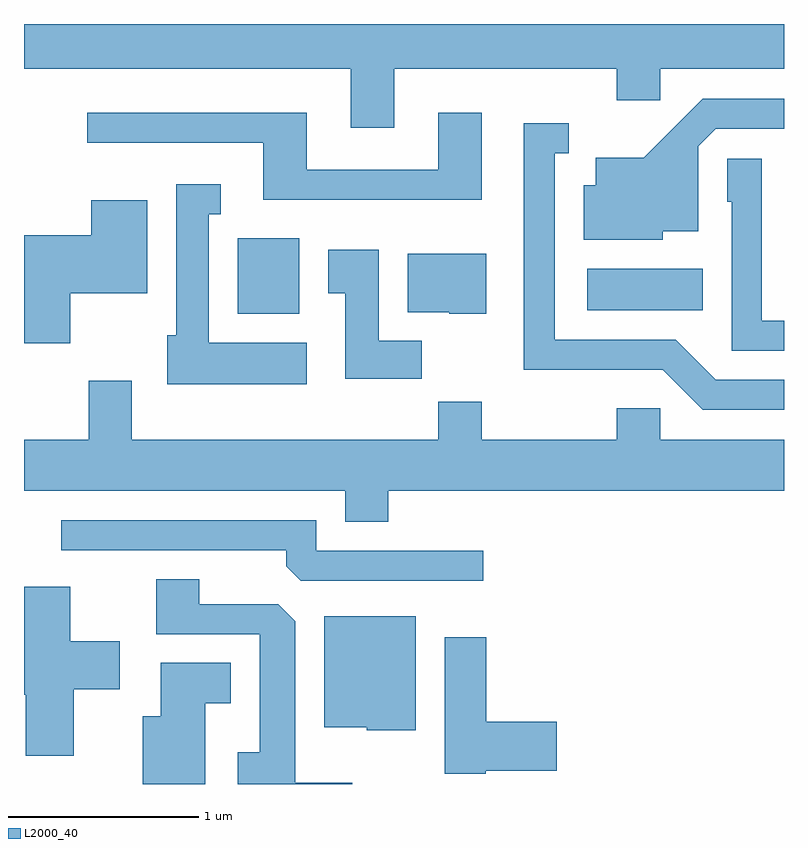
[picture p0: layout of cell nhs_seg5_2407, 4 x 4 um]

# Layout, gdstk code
import gdstk
lib = gdstk.Library(unit=1e-6, precision=1e-09)
def R(c, l, rs):  # rectangles x0, y0, x1, y1
    for r in rs: c.add(gdstk.rectangle(r[:2], r[2:], *l))
def P(c, l, *ps):  # polygons
    for p in ps: c.add(gdstk.Polygon(p, *l))
L2000_40 = (2000, 40)

nhs_seg5_2407 = lib.new_cell('nhs_seg5_2407')
R(nhs_seg5_2407, L2000_40, [(256.736,1526.546,257.059,1526.944), (258.576,1526.566,259.184,1526.784)])
P(nhs_seg5_2407, L2000_40, [(257.559,1527.836),(258.731,1527.836),(258.731,1527.671),(258.959,1527.671),(258.959,1527.836),(259.611,1527.836),(259.611,1528.072),(255.611,1528.072),(255.611,1527.836),(257.331,1527.836),(257.331,1527.526),(257.559,1527.526)],
  [(258.974,1526.981),(259.159,1526.981),(259.159,1527.429),(259.252,1527.521),(259.611,1527.521),(259.611,1527.679),(259.183,1527.679),(258.873,1527.369),(258.621,1527.369),(258.621,1527.224),(258.556,1527.224),(258.556,1526.936),(258.974,1526.936)],
  [(258.019,1527.604),(257.791,1527.604),(257.791,1527.304),(257.099,1527.304),(257.099,1527.604),(255.943,1527.604),(255.943,1527.446),(256.871,1527.446),(256.871,1527.146),(258.019,1527.146)],
  [(259.611,1526.199),(259.252,1526.199),(259.041,1526.409),(258.404,1526.409),(258.404,1527.391),(258.478,1527.391),(258.478,1527.549),(258.241,1527.549),(258.241,1526.251),(258.974,1526.251),(259.183,1526.041),(259.611,1526.041)],
  [(259.611,1526.509),(259.494,1526.509),(259.494,1527.364),(259.311,1527.364),(259.311,1527.136),(259.336,1527.136),(259.336,1526.351),(259.611,1526.351)],
  [(257.099,1526.394),(256.584,1526.394),(256.584,1527.071),(256.647,1527.071),(256.647,1527.229),(256.411,1527.229),(256.411,1526.434),(256.366,1526.434),(256.366,1526.176),(257.099,1526.176)],
  [(255.854,1526.656),(256.259,1526.656),(256.259,1527.144),(255.966,1527.144),(255.966,1526.959),(255.611,1526.959),(255.611,1526.391),(255.854,1526.391)],
  [(257.704,1526.404),(257.479,1526.404),(257.479,1526.884),(257.211,1526.884),(257.211,1526.656),(257.301,1526.656),(257.301,1526.206),(257.704,1526.206)],
  [(258.044,1526.864),(257.631,1526.864),(257.631,1526.556),(257.85,1526.556),(257.85,1526.546),(258.044,1526.546)],
  [(257.529,1525.616),(259.611,1525.616),(259.611,1525.884),(258.959,1525.884),(258.959,1526.049),(258.731,1526.049),(258.731,1525.884),(258.019,1525.884),(258.019,1526.084),(257.791,1526.084),(257.791,1525.884),(256.179,1525.884),(256.179,1526.194),(255.951,1526.194),(255.951,1525.884),(255.611,1525.884),(255.611,1525.616),(257.301,1525.616),(257.301,1525.451),(257.529,1525.451)],
  [(258.028,1525.299),(257.149,1525.299),(257.149,1525.459),(255.808,1525.459),(255.808,1525.301),(256.991,1525.301),(256.991,1525.217),(257.067,1525.141),(258.028,1525.141)],
  [(257.339,1524.079),(257.039,1524.079),(257.039,1524.929),(256.949,1525.019),(256.534,1525.019),(256.534,1525.149),(256.306,1525.149),(256.306,1524.861),(256.851,1524.861),(256.851,1524.239),(256.736,1524.239),(256.736,1524.072),(257.339,1524.072)],
  [(255.874,1524.571),(256.114,1524.571),(256.114,1524.824),(255.854,1524.824),(255.854,1525.109),(255.611,1525.109),(255.611,1524.541),(255.621,1524.541),(255.621,1524.221),(255.874,1524.221)],
  [(257.674,1524.954),(257.191,1524.954),(257.191,1524.371),(257.415,1524.371),(257.415,1524.356),(257.674,1524.356)],
  [(258.04,1524.141),(258.414,1524.141),(258.414,1524.399),(258.044,1524.399),(258.044,1524.844),(257.826,1524.844),(257.826,1524.126),(258.04,1524.126)],
  [(256.564,1524.496),(256.699,1524.496),(256.699,1524.709),(256.331,1524.709),(256.331,1524.429),(256.236,1524.429),(256.236,1524.072),(256.564,1524.072)])

lib.write_gds('nhs_seg5_2407.gds')
